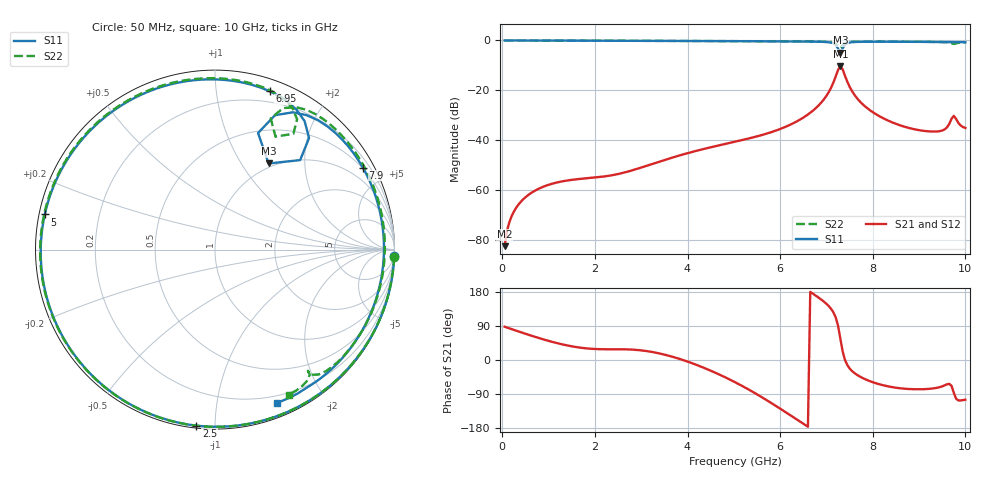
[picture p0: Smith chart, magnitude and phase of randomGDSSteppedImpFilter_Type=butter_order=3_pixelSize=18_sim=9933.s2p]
! freq	dB(S11)	phase(S11)	dB(S12)	phase(S12)
!  dB(S21)	phase(S21)	dB(S22)	phase(S22)
!S-par simulation data
#  GHz  S  DB  R 50
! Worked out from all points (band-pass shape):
!   200 points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, 50 MHz to 10 GHz, reference 50 ohm
!   highest |S21| = -10.36 dB at 7.3 GHz (marker M1); lowest = -82.6 dB at 50 MHz (marker M2)
!   |S21| within 3 dB of the highest: 7.221 GHz to 7.384 GHz (163.4 MHz wide, 2.24 % of centre)
!   lowest |S11| = -5.0 dB at 7.3 GHz (marker M3), VSWR 3.60, Z = 47.1 + j66.4 ohm
!   |S11| at or under -10 dB: nowhere
!   |S22| runs from -2.9 to 0.0 dB; largest |S21 - S12| = 0
!   S11 on the Smith chart (normalised r, x): 50 MHz: 1, -57; 2.5 GHz: 0.01, -0.90; 5 GHz: 0.02, +0.10; 6.95 GHz: 0.10, +1.40; 7.9 GHz: 0.47, +3.81; 10 GHz: 0.13, -1.48
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0.05  -0.01 -2.0  -82.61 87.8  -82.61 87.8  -0.01 -2.3
0.25  -0.01 -9.9  -68.73 79.4  -68.73 79.4  -0.02 -11.3
0.55  -0.02 -21.8  -62.22 67.2  -62.22 67.2  -0.03 -24.7
1.75  -0.09 -68.0  -55.48 31.5  -55.48 31.5  -0.09 -76.2
2.5  -0.12 -96.0  -53.64 28.3  -53.64 28.3  -0.13 -106.2
3.4  -0.17 -129.2  -48.62 17.1  -48.62 17.1  -0.17 -140.6
4.2  -0.22 -159.4  -44.28 -13.1  -44.28 -13.1  -0.21 -170.6
5  -0.28 168.3  -40.77 -56.9  -40.77 -56.9  -0.26 158.7
5.05  -0.28 166.2  -40.56 -60.1  -40.56 -60.1  -0.27 156.7
5.85  -0.36 130.2  -36.57 -116.7  -36.57 -116.7  -0.32 124.1
6.7  -0.48 86.2  -28.31 175.7  -28.31 175.7  -0.42 86.1
6.95  -0.60 71.0  -23.52 153.5  -23.52 153.5  -0.51 73.5
7.2  -1.80 49.9  -14.45 112.3  -14.45 112.3  -1.33 57.8
7.3  -4.96 58.1  -10.36 56.6  -10.36 56.6  -2.93 61.8
7.35  -3.19 69.7  -11.63 22.4  -11.63 22.4  -2.00 67.0
7.45  -1.12 60.5  -16.57 -13.3  -16.57 -13.3  -0.79 60.3
7.9  -0.52 29.0  -27.49 -54.0  -27.49 -54.0  -0.43 34.5
8.35  -0.52 4.8  -32.34 -70.0  -32.34 -70.0  -0.45 12.5
9.4  -0.62 -44.0  -36.53 -73.0  -36.53 -73.0  -0.62 -37.3
9.6  -0.66 -52.3  -34.97 -64.3  -34.97 -64.3  -0.75 -47.5
9.75  -0.69 -58.1  -30.27 -86.5  -30.27 -86.5  -1.40 -52.5
10  -0.72 -67.9  -35.14 -104.7  -35.14 -104.7  -0.84 -62.9
